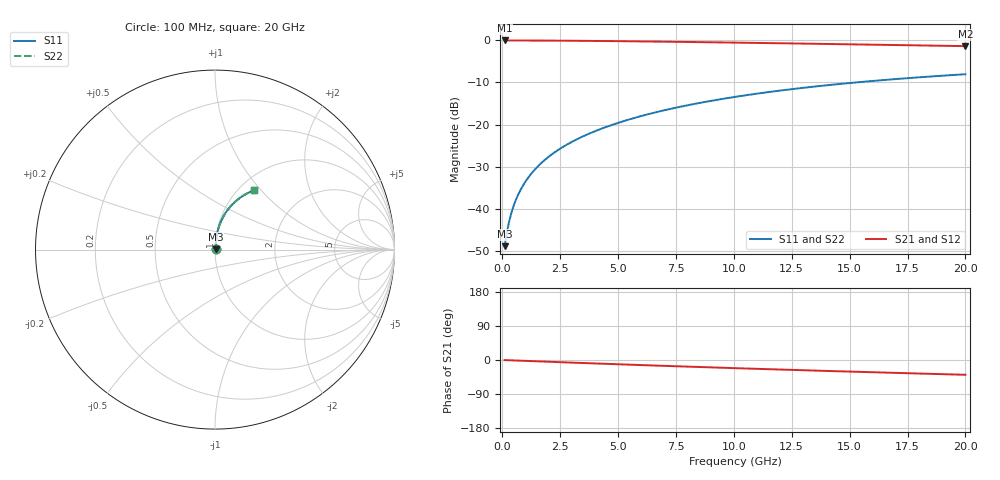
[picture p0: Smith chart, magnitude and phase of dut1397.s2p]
! Touchstone file exported from HFSS 2024.1.0
!  File:  C:/UserFiles/LocalFiles/RDL_TSV_Batchsim/temp_RDL_top_1397_1780368002.aedt
!  Generated:  10:42:11 AM Jun  2, 2026
!  Design:  RDL_top
!  Project:  temp_RDL_top_1397_1780368002
!  Setup:  Setup1
!  Solution:  Sweep
! Variables:
!  dtsv = 10.80580581um
!  hbump = 3um
!  htsv = 68.45um
!  ldown = 100um
!  lrdl = 515.8um
!  p = 40
!  p1 = 53.24um
!  rhole = 1um
!  t = 450um
!  tdown = 3.915915916um
!  trdl = 3.58um
!  wdown = 15.38538539um
!  wrdl = 19.07um
# GHz S MA R 50.000000
! Terminal data exported
! Port[1] = Box2_T1
! Port[2] = Box2_T2
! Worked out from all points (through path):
!   200 points, 100 MHz to 20 GHz, reference 50 ohm
!   highest |S21| = -0.02 dB at 100 MHz (marker M1); lowest = -1.4 dB at 20 GHz (marker M2)
!   group delay of S21, straight-line fit = 5.39 ps
!   lowest |S11| = -48.9 dB at 100 MHz (marker M3), VSWR 1.01, Z = 50.3 + j0.221 ohm
!   |S11| at or under -10 dB: start of sweep to 15.26 GHz
!   |S22| runs from -48.9 to -8.0 dB; largest |S21 - S12| = 3.3e-15
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0.1  0.003597 37.8  0.9972 -0.2  0.9972 -0.2  0.003597 37.8
! Gamma 0 0 0 0
! Port Impedance 50 0 50 0
0.2  0.005262 55.9  0.997 -0.5  0.997 -0.5  0.005262 55.9
0.3  0.007149 64.5  0.9969 -0.7  0.9969 -0.7  0.007149 64.5
0.4  0.009089 69.4  0.9967 -0.9  0.9967 -0.9  0.009089 69.4
0.5  0.01105 72.6  0.9966 -1.2  0.9966 -1.2  0.01105 72.6
0.6  0.01302 74.8  0.9964 -1.4  0.9964 -1.4  0.01302 74.8
0.8  0.017 77.8  0.9961 -1.9  0.9961 -1.9  0.017 77.8
1.1  0.02303 80.3  0.9956 -2.6  0.9956 -2.6  0.02303 80.3
1.5  0.03116 82.0  0.9947 -3.5  0.9947 -3.5  0.03116 82.0
1.8  0.0373 82.7  0.9939 -4.2  0.9939 -4.2  0.0373 82.7
2.1  0.04348 83.1  0.993 -4.9  0.993 -4.9  0.04348 83.1
2.7  0.05594 83.4  0.9908 -6.2  0.9908 -6.2  0.05594 83.4
3.5  0.07273 83.1  0.9871 -8.0  0.9871 -8.0  0.07273 83.1
4.2  0.08758 82.6  0.9834 -9.6  0.9834 -9.6  0.08758 82.6
5  0.1047 81.8  0.9785 -11.3  0.9785 -11.3  0.1047 81.8
5.9  0.1241 80.6  0.9725 -13.2  0.9725 -13.2  0.1241 80.6
6.8  0.1436 79.3  0.9661 -15.1  0.9661 -15.1  0.1436 79.3
8.4  0.1781 76.8  0.9538 -18.3  0.9538 -18.3  0.1781 76.8
10.1  0.2142 73.9  0.94 -21.6  0.94 -21.6  0.2142 73.8
13.4  0.281 67.9  0.9119 -27.8  0.9119 -27.8  0.281 67.9
16.7  0.342 62.1  0.8827 -33.5  0.8827 -33.5  0.342 62.1
20  0.3961 56.6  0.8534 -39.0  0.8534 -39.0  0.3961 56.6
